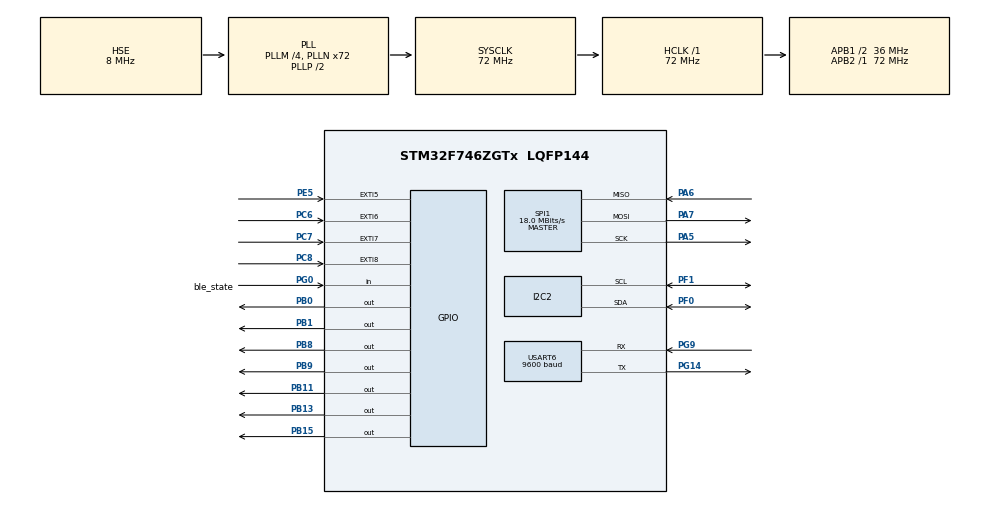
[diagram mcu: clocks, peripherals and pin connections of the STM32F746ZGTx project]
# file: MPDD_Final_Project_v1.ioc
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Dma.Request0=SPI1_TX
Dma.SPI1_TX.0.Direction=DMA_MEMORY_TO_PERIPH
Dma.SPI1_TX.0.FIFOMode=DMA_FIFOMODE_ENABLE
Dma.SPI1_TX.0.FIFOThreshold=DMA_FIFO_THRESHOLD_HALFFULL
Dma.SPI1_TX.0.Instance=DMA2_Stream3
Dma.SPI1_TX.0.MemBurst=DMA_MBURST_SINGLE
Dma.SPI1_TX.0.MemDataAlignment=DMA_MDATAALIGN_HALFWORD
Dma.SPI1_TX.0.MemInc=DMA_MINC_ENABLE
Dma.SPI1_TX.0.Mode=DMA_NORMAL
Dma.SPI1_TX.0.PeriphBurst=DMA_PBURST_SINGLE
Dma.SPI1_TX.0.PeriphDataAlignment=DMA_PDATAALIGN_HALFWORD
Dma.SPI1_TX.0.PeriphInc=DMA_PINC_DISABLE
Dma.SPI1_TX.0.Priority=DMA_PRIORITY_LOW
I2C2.Timing=0x00808CD2
Mcu.Family=STM32F7
Mcu.Name=STM32F746ZGTx
Mcu.Package=LQFP144
NVIC.DMA2_Stream3_IRQn=true\:0\:0\:false\:false\:true\:false\:true\:true
NVIC.EXTI9_5_IRQn=true\:0\:0\:false\:false\:true\:true\:true\:true
NVIC.PriorityGroup=NVIC_PRIORITYGROUP_4
NVIC.SPI1_IRQn=true\:0\:0\:false\:false\:true\:true\:true\:true
NVIC.USART6_IRQn=true\:0\:0\:false\:false\:true\:true\:true\:true
PA10.GPIO_Label=USB_ID
PA10.Signal=USB_OTG_FS_ID
PA11.GPIO_Label=USB_DM
PA11.Signal=USB_OTG_FS_DM
PA12.GPIO_Label=USB_DP
PA12.Signal=USB_OTG_FS_DP
PA13.GPIO_Label=TMS
PA13.Mode=Serial_Wire
PA13.Signal=SYS_JTMS-SWDIO
PA14.GPIO_Label=TCK
PA14.Mode=Serial_Wire
PA14.Signal=SYS_JTCK-SWCLK
PA5.Mode=Full_Duplex_Master
PA5.Signal=SPI1_SCK
PA6.Mode=Full_Duplex_Master
PA6.Signal=SPI1_MISO
PA7.Mode=Full_Duplex_Master
PA7.Signal=SPI1_MOSI
PA8.GPIO_Label=USB_SOF [TP1]
PA8.Signal=USB_OTG_FS_SOF
PA9.GPIO_Label=USB_VBUS
PA9.Signal=USB_OTG_FS_VBUS
PB0.Signal=GPIO_Output
PB1.GPIO_PuPd=GPIO_PULLDOWN
PB1.Signal=GPIO_Output
PB11.GPIO_PuPd=GPIO_PULLDOWN
PB11.Signal=GPIO_Output
PB13.GPIO_PuPd=GPIO_PULLDOWN
PB13.Signal=GPIO_Output
PB15.GPIO_PuPd=GPIO_PULLDOWN
PB15.Signal=GPIO_Output
PB3.GPIO_Label=SW0
PB3.Signal=SYS_JTDO-SWO
PB8.PinState=GPIO_PIN_RESET
PB8.Signal=GPIO_Output
PB9.Signal=GPIO_Output
PC14/OSC32_IN.Mode=LSE-External-Oscillator
PC14/OSC32_IN.Signal=RCC_OSC32_IN
PC15/OSC32_OUT.Mode=LSE-External-Oscillator
PC15/OSC32_OUT.Signal=RCC_OSC32_OUT
PC6.GPIO_ModeDefaultEXTI=GPIO_MODE_IT_FALLING
PC6.GPIO_PuPd=GPIO_PULLUP
PC6.Signal=GPXTI6
PC7.GPIO_ModeDefaultEXTI=GPIO_MODE_IT_FALLING
PC7.GPIO_PuPd=GPIO_PULLUP
PC7.Signal=GPXTI7
PC8.GPIO_ModeDefaultEXTI=GPIO_MODE_IT_FALLING
PC8.GPIO_PuPd=GPIO_PULLUP
PC8.Signal=GPXTI8
PE5.GPIO_ModeDefaultEXTI=GPIO_MODE_IT_FALLING
PE5.GPIO_PuPd=GPIO_PULLUP
PE5.Signal=GPXTI5
PF0.Mode=I2C
PF0.Signal=I2C2_SDA
PF1.Mode=I2C
PF1.Signal=I2C2_SCL
PG0.GPIO_Label=ble_state
PG0.Signal=GPIO_Input
PG14.Mode=Asynchronous
PG14.Signal=USART6_TX
PG9.Mode=Asynchronous
PG9.Signal=USART6_RX
PH0/OSC_IN.GPIO_Label=MCO [STM32F103CBT6_PA8]
PH0/OSC_IN.Mode=HSE-External-Clock-Source
PH0/OSC_IN.Signal=RCC_OSC_IN
PH1/OSC_OUT.Mode=HSE-External-Clock-Source
PH1/OSC_OUT.Signal=RCC_OSC_OUT
ProjectManager.HeapSize=0x200
ProjectManager.StackSize=0x400
ProjectManager.TargetToolchain=STM32CubeIDE
RCC.48MHZClocksFreq_Value=24000000
RCC.AHBFreq_Value=72000000
RCC.APB1CLKDivider=RCC_HCLK_DIV2
RCC.APB1Freq_Value=36000000
RCC.APB1TimFreq_Value=72000000
RCC.APB2Freq_Value=72000000
RCC.APB2TimFreq_Value=72000000
RCC.CortexFreq_Value=72000000
RCC.HCLKFreq_Value=72000000
RCC.HSE_VALUE=8000000
RCC.HSI_VALUE=16000000
RCC.PLLM=4
RCC.PLLMUL=RCC_PLL_MUL9
RCC.PLLN=72
RCC.PLLQ=3
RCC.PLLSourceVirtual=RCC_PLLSOURCE_HSE
RCC.PRESCALERUSB=RCC_USBCLKSOURCE_PLL_DIV1_5
RCC.SYSCLKFreq_VALUE=72000000
RCC.SYSCLKSource=RCC_SYSCLKSOURCE_PLLCLK
RCC.SYSCLKSourceVirtual=RCC_SYSCLKSOURCE_PLLCLK
RCC.USBFreq_Value=48000000
RCC.VCOOutputFreq_Value=144000000
SPI1.BaudRatePrescaler=SPI_BAUDRATEPRESCALER_4
SPI1.CalculateBaudRate=18.0 MBits/s
SPI1.DataSize=SPI_DATASIZE_8BIT
SPI1.Direction=SPI_DIRECTION_2LINES
SPI1.Mode=SPI_MODE_MASTER
SPI1.NSSPMode=SPI_NSS_PULSE_DISABLE
SPI1.VirtualType=VM_MASTER
USART6.BaudRate=9600
USART6.VirtualMode-Asynchronous=VM_ASYNC
board=NUCLEO-F746ZG

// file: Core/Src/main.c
/* USER CODE BEGIN Header */
/**
  ******************************************************************************
  * @file           : main.c
  * @brief          : Main program body
  ******************************************************************************
  * @attention
  *
  * Copyright (c) 2022 STMicroelectronics.
  * All rights reserved.
  *
  * This software is licensed under terms that can be found in the LICENSE file
  * in the root directory of this software component.
  * If no LICENSE file comes with this software, it is provided AS-IS.
  *
  ******************************************************************************
  */
/* USER CODE END Header */
#include "main.h"

/* USER CODE BEGIN Includes */
#include "ili9163.h"
#include "string.h"
#include "mpu6050.h"
#include <stdint.h>
/* USER CODE END Includes */

I2C_HandleTypeDef hi2c2;

SPI_HandleTypeDef hspi1;
DMA_HandleTypeDef hdma_spi1_tx;

UART_HandleTypeDef huart6;

/* USER CODE BEGIN PV */

uint8_t SPI_DMA_FL = 0;
uint32_t SPI_DMA_CNT=1;
volatile uint8_t messageReady = 0;

char keyChar = 0;
uint16_t key = 0;

char receiveBuffer[1]; // Global buffer for one byte of data
char receivedData[5000]; // Global buffer for storing received messages
uint8_t receivedDataIndex = 0; // Index for storing data in receivedData
extern char writeString[50];
uint8_t flag = 0;
int16_t gyroX = 0;
	      int16_t gyroY = 0;
	      int16_t gyroZ = 0;
/* USER CODE END PV */

void SystemClock_Config(void);
static void MX_GPIO_Init(void);
static void MX_DMA_Init(void);
static void MX_SPI1_Init(void);
static void MX_USART6_UART_Init(void);
static void MX_I2C2_Init(void);
/* USER CODE BEGIN PFP */
uint16_t keyPadScan(void);
/* USER CODE END PFP */

/* USER CODE BEGIN 0 */
GPIO_PinState statePinStatus;
/* USER CODE END 0 */

int main(void)
{

  /* MCU Configuration--------------------------------------------------------*/

  /* Reset of all peripherals, Initializes the Flash interface and the Systick. */
  HAL_Init();

  /* Configure the system clock */
  SystemClock_Config();

  /* Initialize all configured peripherals */
  MX_GPIO_Init();
  MX_DMA_Init();
  MX_SPI1_Init();
  MX_USART6_UART_Init();
  MX_I2C2_Init();
  /* USER CODE BEGIN 2 */
  ILI9163_init(0);

  //HAL_UART_Receive_IT(&huart6, (uint8_t *)receiveBuffer, sizeof(receiveBuffer));
   //uint8_t dataToSend[] = "How are you?";
   HAL_UART_Receive_IT(&huart6, (uint8_t *)receiveBuffer, sizeof(receiveBuffer));
   MPU6050_Init(&hi2c2);

  // updateScreen("");
  /* USER CODE END 2 */

  /* Infinite loop */
  while (1)
  {

    /* USER CODE BEGIN 3 */

	  statePinStatus = HAL_GPIO_ReadPin(GPIOG, GPIO_PIN_0);

	  // Now you can check if the pin is set (high) or reset (low)
	  if(statePinStatus == GPIO_PIN_SET) {

			if(keyChar != 0){
			  key_pad(keyChar);
			  keyChar = 0;
			}
			if(flag == 1){
			  HAL_UART_Transmit(&huart6, writeString, strlen(writeString), 1000);
			  flag = 0;
			}
			if(flag == 2){
				readGyroData(&hi2c2, &gyroX, &gyroY, &gyroZ);

					          char str_buffer[100];  // Made the buffer bigger just in case

					          // Format gyro data into a comma-separated list
					          sprintf(str_buffer, "[%d,%d,%d]\n", gyroX, gyroY, gyroZ);

					          // Transmit the formatted string over CDC
					        HAL_UART_Transmit(&huart6,(uint8_t*)str_buffer, strlen(str_buffer), 1000);
					          HAL_Delay(60);
				          }

			if (messageReady) {
			 // Process the complete message
			 ILI9163_newFrame();
			 ILI9163_drawString(5, 5, Font_7x10, BLUE, receivedData);
			 ILI9163_render();

			 	 messageReady = 0; // Reset the flag
}
	  } else {
	      // Pin PG0 is reset (low)
	      // ... do something else ...
	  }

  /* USER CODE END 3 */
}
}

void SystemClock_Config(void)
{
  RCC_OscInitTypeDef RCC_OscInitStruct = {0};
  RCC_ClkInitTypeDef RCC_ClkInitStruct = {0};

  /** Configure LSE Drive Capability
  */
  HAL_PWR_EnableBkUpAccess();

  /** Configure the main internal regulator output voltage
  */
  __HAL_RCC_PWR_CLK_ENABLE();
  __HAL_PWR_VOLTAGESCALING_CONFIG(PWR_REGULATOR_VOLTAGE_SCALE3);

  /** Initializes the RCC Oscillators according to the specified parameters
  * in the RCC_OscInitTypeDef structure.
  */
  RCC_OscInitStruct.OscillatorType = RCC_OSCILLATORTYPE_HSE;
  RCC_OscInitStruct.HSEState = RCC_HSE_BYPASS;
  RCC_OscInitStruct.PLL.PLLState = RCC_PLL_ON;
  RCC_OscInitStruct.PLL.PLLSource = RCC_PLLSOURCE_HSE;
  RCC_OscInitStruct.PLL.PLLM = 4;
  RCC_OscInitStruct.PLL.PLLN = 72;
  RCC_OscInitStruct.PLL.PLLP = RCC_PLLP_DIV2;
  RCC_OscInitStruct.PLL.PLLQ = 3;
  if (HAL_RCC_OscConfig(&RCC_OscInitStruct) != HAL_OK)
  {
    Error_Handler();
  }

  /** Initializes the CPU, AHB and APB buses clocks
  */
  RCC_ClkInitStruct.ClockType = RCC_CLOCKTYPE_HCLK|RCC_CLOCKTYPE_SYSCLK
                              |RCC_CLOCKTYPE_PCLK1|RCC_CLOCKTYPE_PCLK2;
  RCC_ClkInitStruct.SYSCLKSource = RCC_SYSCLKSOURCE_PLLCLK;
  RCC_ClkInitStruct.AHBCLKDivider = RCC_SYSCLK_DIV1;
  RCC_ClkInitStruct.APB1CLKDivider = RCC_HCLK_DIV2;
  RCC_ClkInitStruct.APB2CLKDivider = RCC_HCLK_DIV1;

  if (HAL_RCC_ClockConfig(&RCC_ClkInitStruct, FLASH_LATENCY_2) != HAL_OK)
  {
    Error_Handler();
  }
}

static void MX_I2C2_Init(void)
{

  hi2c2.Instance = I2C2;
  hi2c2.Init.Timing = 0x00808CD2;
  hi2c2.Init.OwnAddress1 = 0;
  hi2c2.Init.AddressingMode = I2C_ADDRESSINGMODE_7BIT;
  hi2c2.Init.DualAddressMode = I2C_DUALADDRESS_DISABLE;
  hi2c2.Init.OwnAddress2 = 0;
  hi2c2.Init.OwnAddress2Masks = I2C_OA2_NOMASK;
  hi2c2.Init.GeneralCallMode = I2C_GENERALCALL_DISABLE;
  hi2c2.Init.NoStretchMode = I2C_NOSTRETCH_DISABLE;
  if (HAL_I2C_Init(&hi2c2) != HAL_OK)
  {
    Error_Handler();
  }

  /** Configure Analogue filter
  */
  if (HAL_I2CEx_ConfigAnalogFilter(&hi2c2, I2C_ANALOGFILTER_ENABLE) != HAL_OK)
  {
    Error_Handler();
  }

  /** Configure Digital filter
  */
  if (HAL_I2CEx_ConfigDigitalFilter(&hi2c2, 0) != HAL_OK)
  {
    Error_Handler();
  }

}

static void MX_SPI1_Init(void)
{

  /* SPI1 parameter configuration*/
  hspi1.Instance = SPI1;
  hspi1.Init.Mode = SPI_MODE_MASTER;
  hspi1.Init.Direction = SPI_DIRECTION_2LINES;
  hspi1.Init.DataSize = SPI_DATASIZE_8BIT;
  hspi1.Init.CLKPolarity = SPI_POLARITY_LOW;
  hspi1.Init.CLKPhase = SPI_PHASE_1EDGE;
  hspi1.Init.NSS = SPI_NSS_SOFT;
  hspi1.Init.BaudRatePrescaler = SPI_BAUDRATEPRESCALER_4;
  hspi1.Init.FirstBit = SPI_FIRSTBIT_MSB;
  hspi1.Init.TIMode = SPI_TIMODE_DISABLE;
  hspi1.Init.CRCCalculation = SPI_CRCCALCULATION_DISABLE;
  hspi1.Init.CRCPolynomial = 7;
  hspi1.Init.CRCLength = SPI_CRC_LENGTH_DATASIZE;
  hspi1.Init.NSSPMode = SPI_NSS_PULSE_DISABLE;
  if (HAL_SPI_Init(&hspi1) != HAL_OK)
  {
    Error_Handler();
  }

}

static void MX_USART6_UART_Init(void)
{

  huart6.Instance = USART6;
  huart6.Init.BaudRate = 9600;
  huart6.Init.WordLength = UART_WORDLENGTH_8B;
  huart6.Init.StopBits = UART_STOPBITS_1;
  huart6.Init.Parity = UART_PARITY_NONE;
  huart6.Init.Mode = UART_MODE_TX_RX;
  huart6.Init.HwFlowCtl = UART_HWCONTROL_NONE;
  huart6.Init.OverSampling = UART_OVERSAMPLING_16;
  huart6.Init.OneBitSampling = UART_ONE_BIT_SAMPLE_DISABLE;
  huart6.AdvancedInit.AdvFeatureInit = UART_ADVFEATURE_NO_INIT;
  if (HAL_UART_Init(&huart6) != HAL_OK)
  {
    Error_Handler();
  }

}

static void MX_DMA_Init(void)
{

  /* DMA controller clock enable */
  __HAL_RCC_DMA2_CLK_ENABLE();

  /* DMA interrupt init */
  /* DMA2_Stream3_IRQn interrupt configuration */
  HAL_NVIC_SetPriority(DMA2_Stream3_IRQn, 0, 0);
  HAL_NVIC_EnableIRQ(DMA2_Stream3_IRQn);

}

static void MX_GPIO_Init(void)
{
  GPIO_InitTypeDef GPIO_InitStruct = {0};

  /* GPIO Ports Clock Enable */
  __HAL_RCC_GPIOE_CLK_ENABLE();
  __HAL_RCC_GPIOC_CLK_ENABLE();
  __HAL_RCC_GPIOF_CLK_ENABLE();
  __HAL_RCC_GPIOH_CLK_ENABLE();
  __HAL_RCC_GPIOA_CLK_ENABLE();
  __HAL_RCC_GPIOB_CLK_ENABLE();
  __HAL_RCC_GPIOG_CLK_ENABLE();

  /*Configure GPIO pin Output Level */
  HAL_GPIO_WritePin(GPIOB, GPIO_PIN_0|GPIO_PIN_1|GPIO_PIN_11|GPIO_PIN_13
                          |GPIO_PIN_15|GPIO_PIN_8|GPIO_PIN_9, GPIO_PIN_RESET);

  /*Configure GPIO pin : PE5 */
  GPIO_InitStruct.Pin = GPIO_PIN_5;
  GPIO_InitStruct.Mode = GPIO_MODE_IT_FALLING;
  GPIO_InitStruct.Pull = GPIO_PULLUP;
  HAL_GPIO_Init(GPIOE, &GPIO_InitStruct);

  /*Configure GPIO pins : PB0 PB8 PB9 */
  GPIO_InitStruct.Pin = GPIO_PIN_0|GPIO_PIN_8|GPIO_PIN_9;
  GPIO_InitStruct.Mode = GPIO_MODE_OUTPUT_PP;
  GPIO_InitStruct.Pull = GPIO_NOPULL;
  GPIO_InitStruct.Speed = GPIO_SPEED_FREQ_LOW;
  HAL_GPIO_Init(GPIOB, &GPIO_InitStruct);

  /*Configure GPIO pins : PB1 PB11 PB13 PB15 */
  GPIO_InitStruct.Pin = GPIO_PIN_1|GPIO_PIN_11|GPIO_PIN_13|GPIO_PIN_15;
  GPIO_InitStruct.Mode = GPIO_MODE_OUTPUT_PP;
  GPIO_InitStruct.Pull = GPIO_PULLDOWN;
  GPIO_InitStruct.Speed = GPIO_SPEED_FREQ_LOW;
  HAL_GPIO_Init(GPIOB, &GPIO_InitStruct);

  /*Configure GPIO pin : ble_state_Pin */
  GPIO_InitStruct.Pin = ble_state_Pin;
  GPIO_InitStruct.Mode = GPIO_MODE_INPUT;
  GPIO_InitStruct.Pull = GPIO_NOPULL;
  HAL_GPIO_Init(ble_state_GPIO_Port, &GPIO_InitStruct);

  /*Configure GPIO pins : PC6 PC7 PC8 */
  GPIO_InitStruct.Pin = GPIO_PIN_6|GPIO_PIN_7|GPIO_PIN_8;
  GPIO_InitStruct.Mode = GPIO_MODE_IT_FALLING;
  GPIO_InitStruct.Pull = GPIO_PULLUP;
  HAL_GPIO_Init(GPIOC, &GPIO_InitStruct);

  /*Configure GPIO pins : USB_SOF_Pin USB_ID_Pin USB_DM_Pin USB_DP_Pin */
  GPIO_InitStruct.Pin = USB_SOF_Pin|USB_ID_Pin|USB_DM_Pin|USB_DP_Pin;
  GPIO_InitStruct.Mode = GPIO_MODE_AF_PP;
  GPIO_InitStruct.Pull = GPIO_NOPULL;
  GPIO_InitStruct.Speed = GPIO_SPEED_FREQ_VERY_HIGH;
  GPIO_InitStruct.Alternate = GPIO_AF10_OTG_FS;
  HAL_GPIO_Init(GPIOA, &GPIO_InitStruct);

  /*Configure GPIO pin : USB_VBUS_Pin */
  GPIO_InitStruct.Pin = USB_VBUS_Pin;
  GPIO_InitStruct.Mode = GPIO_MODE_INPUT;
  GPIO_InitStruct.Pull = GPIO_NOPULL;
  HAL_GPIO_Init(USB_VBUS_GPIO_Port, &GPIO_InitStruct);

  /* EXTI interrupt init*/
  HAL_NVIC_SetPriority(EXTI9_5_IRQn, 0, 0);
  HAL_NVIC_EnableIRQ(EXTI9_5_IRQn);

}

/* USER CODE BEGIN 4 */
void HAL_SPI_TxCpltCallback(SPI_HandleTypeDef *hspi) // Your TxCpltCallback
{
	SPI_DMA_CNT--;
	if(SPI_DMA_CNT==0)
	{
		HAL_SPI_DMAStop(&hspi1);
		SPI_DMA_CNT=1;
		SPI_DMA_FL=1;
	}
}

void transmitData(UART_HandleTypeDef *huart, uint8_t *data, uint16_t size) {

	HAL_UART_Transmit(huart, data, size, 1000); // 1000 is timeout duration
}

void HAL_UART_RxCpltCallback(UART_HandleTypeDef *huart) {
  if (huart->Instance == USART6) {
    if (receiveBuffer[0] != '\n' && receivedDataIndex < sizeof(receivedData) - 1) {
      receivedData[receivedDataIndex++] = receiveBuffer[0];
    } else {
      receivedData[receivedDataIndex] = '\0'; // Null-terminate
      messageReady = 1; // Set the flag
      receivedDataIndex = 0;
      //memset(receivedData, 0, sizeof(receivedData));
    }
    HAL_UART_Receive_IT(&huart6, (uint8_t *)receiveBuffer, sizeof(receiveBuffer));
  }
}

/* USER CODE END 4 */

void Error_Handler(void)
{
  __disable_irq();
  while (1)
  {
  }
}
